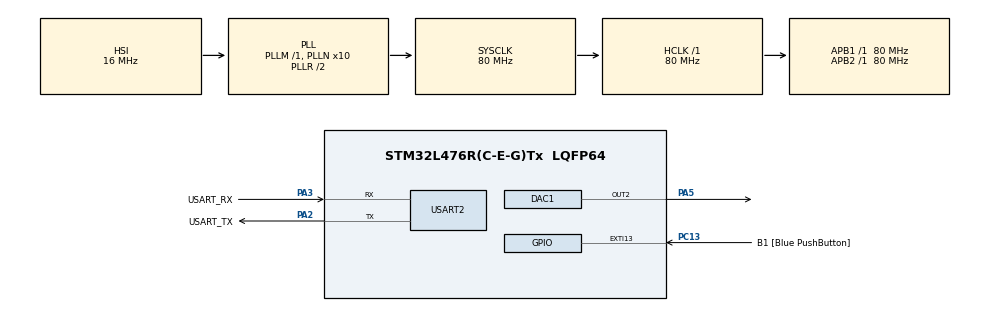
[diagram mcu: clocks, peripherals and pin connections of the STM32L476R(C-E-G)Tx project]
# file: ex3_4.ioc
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DAC1.DAC_Channel-DAC_OUT2=DAC_CHANNEL_2
DAC1.DAC_Trigger-DAC_OUT2=DAC_TRIGGER_T6_TRGO
Dma.DAC_CH2.0.Direction=DMA_MEMORY_TO_PERIPH
Dma.DAC_CH2.0.Instance=DMA1_Channel4
Dma.DAC_CH2.0.MemDataAlignment=DMA_MDATAALIGN_BYTE
Dma.DAC_CH2.0.MemInc=DMA_MINC_ENABLE
Dma.DAC_CH2.0.Mode=DMA_CIRCULAR
Dma.DAC_CH2.0.PeriphDataAlignment=DMA_PDATAALIGN_BYTE
Dma.DAC_CH2.0.PeriphInc=DMA_PINC_DISABLE
Dma.DAC_CH2.0.Priority=DMA_PRIORITY_LOW
Dma.Request0=DAC_CH2
Mcu.Family=STM32L4
Mcu.Name=STM32L476R(C-E-G)Tx
Mcu.Package=LQFP64
NVIC.DMA1_Channel4_IRQn=true\:0\:0\:false\:false\:true\:false\:true
NVIC.PriorityGroup=NVIC_PRIORITYGROUP_4
NVIC.TIM6_DAC_IRQn=true\:0\:0\:false\:false\:true\:true\:true
NVIC.USART2_IRQn=true\:0\:0\:false\:false\:true\:true\:true
PA13\ (JTMS-SWDIO).GPIO_Label=TMS
PA13\ (JTMS-SWDIO).Mode=Serial_Wire
PA13\ (JTMS-SWDIO).Signal=SYS_JTMS-SWDIO
PA14\ (JTCK-SWCLK).GPIO_Label=TCK
PA14\ (JTCK-SWCLK).Mode=Serial_Wire
PA14\ (JTCK-SWCLK).Signal=SYS_JTCK-SWCLK
PA2.GPIO_Label=USART_TX
PA2.GPIO_Mode=GPIO_MODE_AF_PP
PA2.GPIO_PuPd=GPIO_NOPULL
PA2.GPIO_Speed=GPIO_SPEED_FREQ_VERY_HIGH
PA2.Mode=Asynchronous
PA2.Signal=USART2_TX
PA3.GPIO_Label=USART_RX
PA3.GPIO_Mode=GPIO_MODE_AF_PP
PA3.GPIO_PuPd=GPIO_NOPULL
PA3.GPIO_Speed=GPIO_SPEED_FREQ_VERY_HIGH
PA3.Mode=Asynchronous
PA3.Signal=USART2_RX
PA5.Signal=COMP_DAC12_group
PB3\ (JTDO-TRACESWO).GPIO_Label=SWO
PB3\ (JTDO-TRACESWO).Signal=SYS_JTDO-SWO
PC13.GPIO_Label=B1 [Blue PushButton]
PC13.GPIO_ModeDefaultEXTI=GPIO_MODE_IT_FALLING
PC13.GPIO_PuPd=GPIO_NOPULL
PC13.Signal=GPXTI13
PC14-OSC32_IN\ (PC14).Mode=LSE-External-Oscillator
PC14-OSC32_IN\ (PC14).Signal=RCC_OSC32_IN
PC15-OSC32_OUT\ (PC15).Mode=LSE-External-Oscillator
PC15-OSC32_OUT\ (PC15).Signal=RCC_OSC32_OUT
PH0-OSC_IN\ (PH0).Signal=RCC_OSC_IN
PH1-OSC_OUT\ (PH1).Signal=RCC_OSC_OUT
ProjectManager.HeapSize=0x200
ProjectManager.StackSize=0x400
ProjectManager.TargetToolchain=STM32CubeIDE
RCC.ADCFreq_Value=64000000
RCC.AHBFreq_Value=80000000
RCC.APB1Freq_Value=80000000
RCC.APB1TimFreq_Value=80000000
RCC.APB2Freq_Value=80000000
RCC.APB2TimFreq_Value=80000000
RCC.CortexFreq_Value=80000000
RCC.HCLKFreq_Value=80000000
RCC.HSE_VALUE=8000000
RCC.HSI_VALUE=16000000
RCC.MSI_VALUE=4000000
RCC.PLLN=10
RCC.PLLSourceVirtual=RCC_PLLSOURCE_HSI
RCC.PREFETCH_ENABLE=1
RCC.SYSCLKFreq_VALUE=80000000
RCC.SYSCLKSource=RCC_SYSCLKSOURCE_PLLCLK
RCC.USBFreq_Value=64000000
RCC.VCOOutputFreq_Value=160000000
SH.COMP_DAC12_group.0=DAC1_OUT2,DAC_OUT2
TIM6.AutoReloadPreload=TIM_AUTORELOAD_PRELOAD_DISABLE
TIM6.Period=19999
TIM6.Prescaler=7999
TIM6.TIM_MasterOutputTrigger=TIM_TRGO_UPDATE
USART2.VirtualMode-Asynchronous=VM_ASYNC
VP_TIM6_VS_ClockSourceINT.Mode=Enable_Timer
board=NUCLEO-L476RG

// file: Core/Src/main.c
/* USER CODE BEGIN Header */
/**
  ******************************************************************************
  * @file           : main.c
  * @brief          : Main program body
  ******************************************************************************
  * @attention
  *
  * <h2><center>&copy; Copyright (c) 2021 STMicroelectronics.
  * All rights reserved.</center></h2>
  *
  * This software component is licensed by ST under BSD 3-Clause license,
  * the "License"; You may not use this file except in compliance with the
  * License. You may obtain a copy of the License at:
  *                        opensource.org/licenses/BSD-3-Clause
  *
  ******************************************************************************
  */
/* USER CODE END Header */
#include "main.h"
#include "dac.h"
#include "dma.h"
#include "tim.h"
#include "usart.h"
#include "gpio.h"

/* USER CODE BEGIN Includes */
#include <stdio.h>
/* USER CODE END Includes */

/* USER CODE BEGIN PV */
volatile uint8_t flag;
volatile uint8_t cnt;
/* USER CODE END PV */

void SystemClock_Config(void);
/* USER CODE BEGIN PFP */
int _write(int file, char *ptr, int len){
	HAL_UART_Transmit_IT(&huart2, ptr, len);
	return len;
}

void HAL_TIM_PeriodElapsedCallback(TIM_HandleTypeDef *htim){
	if(htim == &htim6){
		flag=1;
	}

}
/* USER CODE END PFP */

int main(void)
{
  /* USER CODE BEGIN 1 */
	uint8_t Value[8]={0,39, 77, 116, 155, 193, 232, 255};
  /* USER CODE END 1 */

  /* MCU Configuration--------------------------------------------------------*/

  /* Reset of all peripherals, Initializes the Flash interface and the Systick. */
  HAL_Init();

  /* Configure the system clock */
  SystemClock_Config();

  /* Initialize all configured peripherals */
  MX_GPIO_Init();
  MX_DMA_Init();
  MX_USART2_UART_Init();
  MX_DAC1_Init();
  MX_TIM6_Init();
  /* USER CODE BEGIN 2 */
  HAL_DAC_SetValue(&hdac1 , DAC_CHANNEL_2, DAC_ALIGN_8B_R, 0);
  HAL_DAC_Start_DMA(&hdac1 , DAC_CHANNEL_2, &Value[0],8,DAC_ALIGN_8B_R);
  HAL_TIM_Base_Start_IT(&htim6);

  /* USER CODE END 2 */

  /* Infinite loop */
  /* USER CODE BEGIN WHILE */
  while (1)
  {
	  if(flag == 1){
		  printf("Zmiana wartosci \r\n");
		  flag=0;
	  }
	  HAL_Delay(10);
    /* USER CODE END WHILE */

  }
}

void SystemClock_Config(void)
{
  RCC_OscInitTypeDef RCC_OscInitStruct = {0};
  RCC_ClkInitTypeDef RCC_ClkInitStruct = {0};
  RCC_PeriphCLKInitTypeDef PeriphClkInit = {0};

  /** Initializes the RCC Oscillators according to the specified parameters
  * in the RCC_OscInitTypeDef structure.
  */
  RCC_OscInitStruct.OscillatorType = RCC_OSCILLATORTYPE_HSI;
  RCC_OscInitStruct.HSIState = RCC_HSI_ON;
  RCC_OscInitStruct.HSICalibrationValue = RCC_HSICALIBRATION_DEFAULT;
  RCC_OscInitStruct.PLL.PLLState = RCC_PLL_ON;
  RCC_OscInitStruct.PLL.PLLSource = RCC_PLLSOURCE_HSI;
  RCC_OscInitStruct.PLL.PLLM = 1;
  RCC_OscInitStruct.PLL.PLLN = 10;
  RCC_OscInitStruct.PLL.PLLP = RCC_PLLP_DIV7;
  RCC_OscInitStruct.PLL.PLLQ = RCC_PLLQ_DIV2;
  RCC_OscInitStruct.PLL.PLLR = RCC_PLLR_DIV2;
  if (HAL_RCC_OscConfig(&RCC_OscInitStruct) != HAL_OK)
  {
    Error_Handler();
  }
  /** Initializes the CPU, AHB and APB buses clocks
  */
  RCC_ClkInitStruct.ClockType = RCC_CLOCKTYPE_HCLK|RCC_CLOCKTYPE_SYSCLK
                              |RCC_CLOCKTYPE_PCLK1|RCC_CLOCKTYPE_PCLK2;
  RCC_ClkInitStruct.SYSCLKSource = RCC_SYSCLKSOURCE_PLLCLK;
  RCC_ClkInitStruct.AHBCLKDivider = RCC_SYSCLK_DIV1;
  RCC_ClkInitStruct.APB1CLKDivider = RCC_HCLK_DIV1;
  RCC_ClkInitStruct.APB2CLKDivider = RCC_HCLK_DIV1;

  if (HAL_RCC_ClockConfig(&RCC_ClkInitStruct, FLASH_LATENCY_4) != HAL_OK)
  {
    Error_Handler();
  }
  PeriphClkInit.PeriphClockSelection = RCC_PERIPHCLK_USART2;
  PeriphClkInit.Usart2ClockSelection = RCC_USART2CLKSOURCE_PCLK1;
  if (HAL_RCCEx_PeriphCLKConfig(&PeriphClkInit) != HAL_OK)
  {
    Error_Handler();
  }
  /** Configure the main internal regulator output voltage
  */
  if (HAL_PWREx_ControlVoltageScaling(PWR_REGULATOR_VOLTAGE_SCALE1) != HAL_OK)
  {
    Error_Handler();
  }
}

void Error_Handler(void)
{
}

/************************ (C) COPYRIGHT STMicroelectronics *****END OF FILE****/
